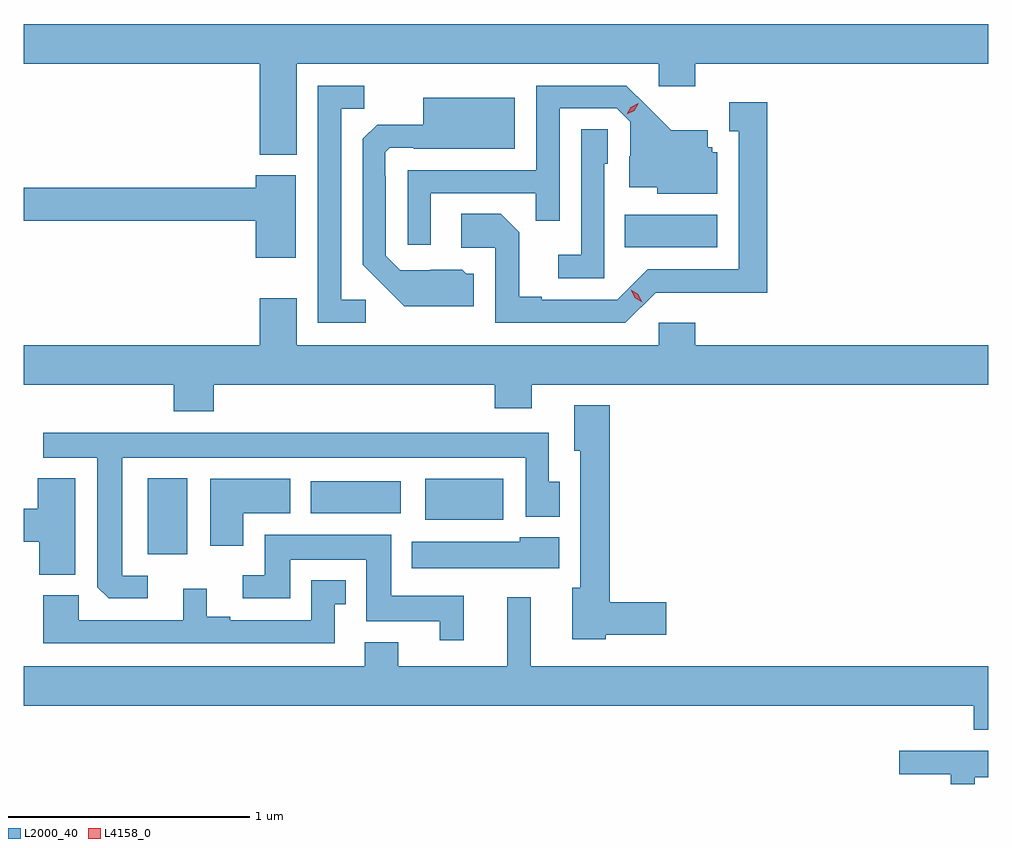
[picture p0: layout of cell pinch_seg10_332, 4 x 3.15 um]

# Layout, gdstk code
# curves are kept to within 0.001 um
import gdstk
lib = gdstk.Library(unit=1e-6, precision=1e-09)
def R(c, l, rs):  # rectangles x0, y0, x1, y1
    for r in rs: c.add(gdstk.rectangle(r[:2], r[2:], *l))
def P(c, l, *ps):  # polygons
    for p in ps: c.add(gdstk.Polygon(p, *l))
L2000_40 = (2000, 40)
L4158_0 = (4158, 0)

pinch_seg10_332 = lib.new_cell('pinch_seg10_332')
R(pinch_seg10_332, L2000_40, [(409.337,1266.312,409.501,1266.628), (410.489,1266.455,410.812,1266.625), (410.012,1266.482,410.386,1266.616), (411.316,1267.586,411.7,1267.72)])
P(pinch_seg10_332, L2000_40, [(409.954,1268.348),(411.456,1268.348),(411.456,1268.253),(411.608,1268.253),(411.608,1268.348),(412.823,1268.348),(412.823,1268.512),(408.823,1268.512),(408.823,1268.348),(409.802,1268.348),(409.802,1267.97),(409.954,1267.97)],
  [(410.511,1267.809),(410.947,1267.809),(410.947,1267.696),(411.045,1267.696),(411.045,1268.163),(411.282,1268.163),(411.339,1268.106),(411.339,1267.964),(411.335,1267.964),(411.335,1267.835),(411.45,1267.835),(411.45,1267.808),(411.7,1267.808),(411.7,1267.98),(411.678,1267.98),(411.678,1268.001),(411.661,1268.001),(411.661,1268.071),(411.509,1268.071),(411.322,1268.256),(410.949,1268.256),(410.949,1267.905),(410.415,1267.905),(410.415,1267.596),(410.511,1267.596)],
  [(410.242,1267.368),(410.139,1267.368),(410.139,1268.161),(410.235,1268.161),(410.235,1268.256),(410.043,1268.256),(410.043,1267.272),(410.242,1267.272)],
  [(410.689,1267.476),(410.658,1267.476),(410.642,1267.492),(410.385,1267.491),(410.325,1267.551),(410.325,1267.88),(410.322,1267.88),(410.322,1267.98),(410.34,1267.998),(410.44,1267.998),(410.44,1267.994),(410.86,1267.994),(410.86,1268.206),(410.48,1268.206),(410.48,1268.095),(410.288,1268.095),(410.229,1268.036),(410.229,1267.514),(410.401,1267.34),(410.689,1267.34)],
  [(411.444,1267.398),(411.907,1267.397),(411.907,1268.188),(411.749,1268.188),(411.749,1268.067),(411.788,1268.067),(411.788,1267.494),(411.411,1267.494),(411.285,1267.368),(410.971,1267.368),(410.971,1267.381),(410.877,1267.381),(410.877,1267.648),(410.801,1267.724),(410.637,1267.724),(410.637,1267.584),(410.778,1267.584),(410.778,1267.272),(411.318,1267.272)],
  [(411.231,1267.932),(411.246,1267.932),(411.246,1268.075),(411.135,1268.075),(411.135,1267.555),(411.039,1267.555),(411.039,1267.458),(411.231,1267.458)],
  [(409.951,1267.885),(409.784,1267.885),(409.784,1267.832),(408.823,1267.832),(408.823,1267.696),(409.784,1267.696),(409.784,1267.542),(409.951,1267.542)],
  [(409.61,1267.016),(410.777,1267.016),(410.777,1266.917),(410.929,1266.917),(410.929,1267.016),(412.823,1267.016),(412.823,1267.18),(411.608,1267.18),(411.608,1267.273),(411.456,1267.273),(411.456,1267.18),(409.954,1267.18),(409.954,1267.375),(409.802,1267.375),(409.802,1267.18),(408.823,1267.18),(408.823,1267.016),(409.445,1267.016),(409.445,1266.905),(409.61,1266.905)],
  [(411.237,1265.978),(411.487,1265.978),(411.487,1266.113),(411.254,1266.113),(411.254,1266.931),(411.107,1266.931),(411.107,1266.741),(411.131,1266.741),(411.131,1266.174),(411.098,1266.174),(411.098,1265.96),(411.237,1265.96)],
  [(409.336,1266.222),(409.231,1266.222),(409.231,1266.713),(410.904,1266.713),(410.904,1266.468),(411.046,1266.468),(411.046,1266.612),(411.001,1266.612),(411.001,1266.817),(408.903,1266.817),(408.903,1266.713),(409.127,1266.713),(409.128,1266.175),(409.174,1266.129),(409.336,1266.129)],
  [(409.036,1266.628),(408.881,1266.628),(408.881,1266.5),(408.823,1266.5),(408.823,1266.364),(408.886,1266.364),(408.886,1266.227),(409.036,1266.227)],
  [(409.732,1266.482),(409.927,1266.482),(409.927,1266.625),(409.595,1266.625),(409.595,1266.348),(409.732,1266.348)],
  [(410.648,1266.139),(410.347,1266.139),(410.347,1266.394),(409.823,1266.394),(409.823,1266.225),(409.731,1266.225),(409.731,1266.129),(409.927,1266.129),(409.927,1266.29),(410.243,1266.29),(410.243,1266.035),(410.549,1266.035),(410.549,1265.955),(410.648,1265.955)],
  [(411.043,1266.382),(410.88,1266.382),(410.88,1266.364),(410.432,1266.364),(410.432,1266.254),(411.043,1266.254)],
  [(410.112,1266.105),(410.158,1266.105),(410.158,1266.205),(410.016,1266.205),(410.016,1266.039),(409.678,1266.039),(409.678,1266.052),(409.582,1266.052),(409.582,1266.169),(409.484,1266.169),(409.484,1266.039),(409.05,1266.039),(409.05,1266.142),(408.904,1266.142),(408.904,1265.943),(410.112,1265.943)],
  [(412.823,1265.848),(410.926,1265.848),(410.926,1266.133),(410.828,1266.133),(410.828,1265.848),(410.377,1265.848),(410.377,1265.947),(410.237,1265.947),(410.237,1265.848),(408.823,1265.848),(408.823,1265.684),(412.763,1265.684),(412.763,1265.585),(412.823,1265.585)],
  [(412.767,1265.388),(412.823,1265.388),(412.823,1265.496),(412.455,1265.496),(412.455,1265.4),(412.668,1265.4),(412.668,1265.359),(412.767,1265.359)])
P(pinch_seg10_332, L4158_0, [(411.389,1267.358),(411.358,1267.377),(411.34,1267.41),(411.34,1267.41),(411.341,1267.41),(411.372,1267.391),(411.389,1267.358),(411.389,1267.358)],
  [(411.324,1268.138),(411.324,1268.138),(411.341,1268.167),(411.371,1268.183),(411.372,1268.183),(411.372,1268.182),(411.355,1268.153),(411.324,1268.138)])

lib.write_gds('pinch_seg10_332.gds')
